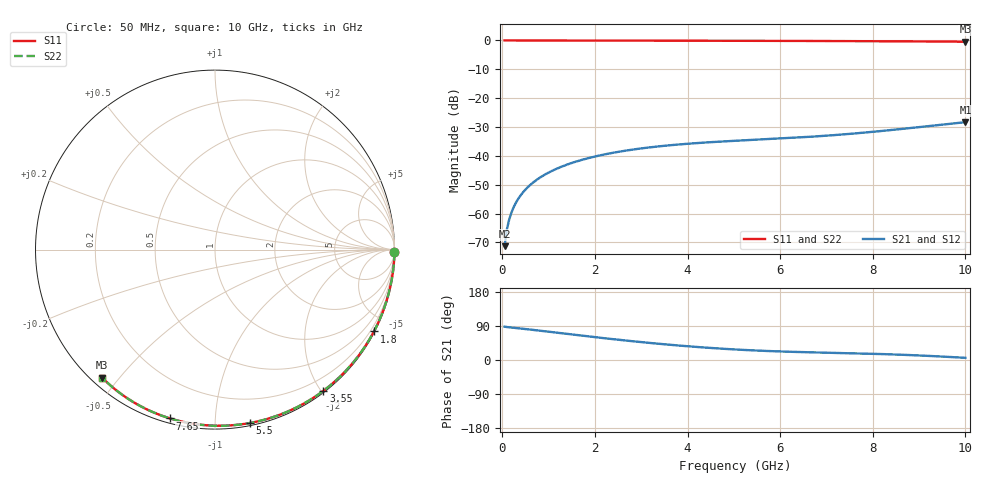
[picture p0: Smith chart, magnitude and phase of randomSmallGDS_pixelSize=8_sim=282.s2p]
! freq	dB(S11)	phase(S11)	dB(S12)	phase(S12)
!  dB(S21)	phase(S21)	dB(S22)	phase(S22)
!S-par simulation data
#  GHz  S  DB  R 50
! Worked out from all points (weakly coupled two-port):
!   200 points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, 50 MHz to 10 GHz, reference 50 ohm
!   highest |S21| = -28.32 dB at 10 GHz (marker M1); lowest = -71.3 dB at 50 MHz (marker M2)
!   lowest |S11| = -0.4 dB at 10 GHz (marker M3), VSWR 39.84, Z = 1.51 - j22.5 ohm
!   |S11| at or under -10 dB: nowhere
!   |S22| runs from -0.4 to 0.0 dB; largest |S21 - S12| = 0
!   S11 on the Smith chart (normalised r, x): 50 MHz: open; 1.8 GHz: 0.04, -4.13; 3.55 GHz: 0.02, -2.03; 5.5 GHz: 0.02, -1.22; 7.65 GHz: 0.02, -0.77; 10 GHz: 0.03, -0.45
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0.05  -0.00 -0.8  -71.29 88.0  -71.29 88.0  -0.00 -0.8
0.1  -0.00 -1.5  -65.41 86.9  -65.41 86.9  -0.00 -1.5
0.15  -0.00 -2.3  -61.98 86.3  -61.98 86.3  -0.00 -2.3
0.2  -0.00 -3.1  -59.53 85.7  -59.53 85.7  -0.00 -3.1
0.25  -0.00 -3.9  -57.62 85.2  -57.62 85.2  -0.00 -3.9
0.35  -0.00 -5.4  -54.74 83.9  -54.74 83.9  -0.00 -5.4
0.5  -0.01 -7.7  -51.68 81.8  -51.68 81.8  -0.01 -7.7
0.7  -0.01 -10.7  -48.80 78.9  -48.80 78.9  -0.01 -10.7
1  -0.02 -15.3  -45.79 74.6  -45.79 74.6  -0.02 -15.3
1.35  -0.03 -20.5  -43.31 69.5  -43.31 69.5  -0.03 -20.5
1.75  -0.03 -26.5  -41.24 63.7  -41.24 63.7  -0.03 -26.5
1.8  -0.03 -27.3  -41.02 63.0  -41.02 63.0  -0.03 -27.3
2.5  -0.05 -37.5  -38.61 53.5  -38.61 53.5  -0.05 -37.5
3.4  -0.07 -50.4  -36.66 42.6  -36.66 42.6  -0.07 -50.4
3.55  -0.07 -52.5  -36.42 40.9  -36.42 40.9  -0.07 -52.5
4.3  -0.09 -62.8  -35.45 33.5  -35.45 33.5  -0.09 -62.8
5.05  -0.11 -72.8  -34.75 27.6  -34.75 27.6  -0.11 -72.8
5.5  -0.13 -78.6  -34.38 24.9  -34.38 24.9  -0.13 -78.6
6.7  -0.18 -93.5  -33.33 20.1  -33.33 20.1  -0.18 -93.5
7.65  -0.23 -104.8  -32.17 17.5  -32.17 17.5  -0.23 -104.8
8.35  -0.28 -112.9  -31.12 15.1  -31.12 15.1  -0.28 -112.9
10  -0.44 -131.4  -28.32 5.8  -28.32 5.8  -0.44 -131.4
